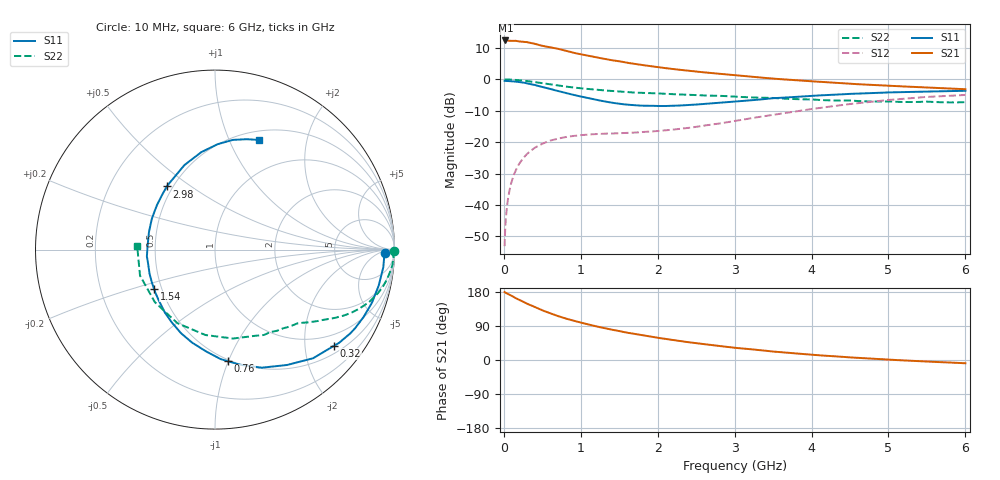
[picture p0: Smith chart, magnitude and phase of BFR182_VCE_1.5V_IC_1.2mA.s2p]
! Infineon Technologies  Discrete & RF Semiconductors
! BFR182
! VCE =  1.5 V,  IC =  1.2 mA
! Common Emitter S-Parameters:  Nov 2015
# GHz  S  MA  R  50
!  f  S11  S21  S12  S22
! GHz  MAG  ANG  MAG  ANG  MAG  ANG  MAG  ANG
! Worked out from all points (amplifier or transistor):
!   210 points, 10 MHz to 6 GHz, reference 50 ohm
!   highest |S21| = 12.4 dB at 20 MHz (marker M1)
!   |S21| within 3 dB of that: start of sweep to 760.8 MHz
!   unconditionally stable (mu >= 1): 1.655 GHz to 3.307 GHz
!   at 185 MHz: K = 0.14, MSG = 19.8 dB, |S12| = -27.5 dB
!   at 1.52 GHz: K = 0.93, MSG = 11.4 dB, |S12| = -17.2 dB
!   at 6 GHz: K = 0.95, MSG = 0.9 dB, |S12| = -5.0 dB
!   S11 on the Smith chart (normalised r, x): 10 MHz: 31, -12; 320 MHz: 0.68, -2.68; 760 MHz: 0.49, -1.00; 1.54 GHz: 0.45, -0.24; 2.98 GHz: 0.46, +0.41; 6 GHz: 0.60, +1.29
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0.01  0.9458 -1.2  4.117 179.3  0.0022 90.3  0.998 -0.5
0.02  0.9434 -2.5  4.169 177.7  0.0046 87.5  0.9918 -1.0
0.035  0.9428 -4.2  4.161 176.3  0.008 85.6  0.9936 -1.8
0.055  0.9415 -6.6  4.148 174.3  0.0127 84.5  0.995 -2.8
0.105  0.9322 -13.1  4.101 169.3  0.0243 82.3  0.9905 -5.4
0.15  0.9231 -18.7  4.128 163.6  0.0343 78.4  0.9808 -7.9
0.32  0.8528 -38.9  3.871 146.9  0.0678 67.0  0.9339 -15.6
0.4  0.8157 -47.9  3.693 140.1  0.0811 62.4  0.9065 -18.9
0.5  0.758 -58.0  3.421 131.0  0.0942 57.3  0.8703 -22.1
0.56  0.7248 -64.1  3.32 126.5  0.101 54.4  0.8493 -23.8
0.7  0.6548 -78.1  3.081 116.2  0.1134 49.2  0.8005 -27.5
0.76  0.6263 -83.3  2.953 112.3  0.1176 47.1  0.7818 -28.7
0.9  0.5694 -95.0  2.662 103.9  0.1254 43.7  0.743 -31.3
1.02  0.5268 -105.4  2.481 97.6  0.1298 41.5  0.7177 -33.1
1.24  0.4618 -123.6  2.201 87.0  0.1354 39.0  0.6778 -36.3
1.54  0.4035 -147.5  1.904 74.7  0.1391 39.5  0.635 -39.9
2.02  0.3764 177.8  1.555 58.0  0.1513 43.7  0.5957 -46.2
2.98  0.4423 127.3  1.174 32.8  0.215 53.7  0.5327 -64.1
3.1  0.4528 122.9  1.138 30.5  0.2279 53.8  0.5236 -67.3
4.1  0.5549 96.0  0.916 12.4  0.3498 48.8  0.4704 -100.4
5.1  0.6228 79.3  0.781 -0.1  0.48 35.1  0.4393 -143.1
6  0.6577 68.3  0.697 -8.6  0.5652 19.7  0.4338 177.5
